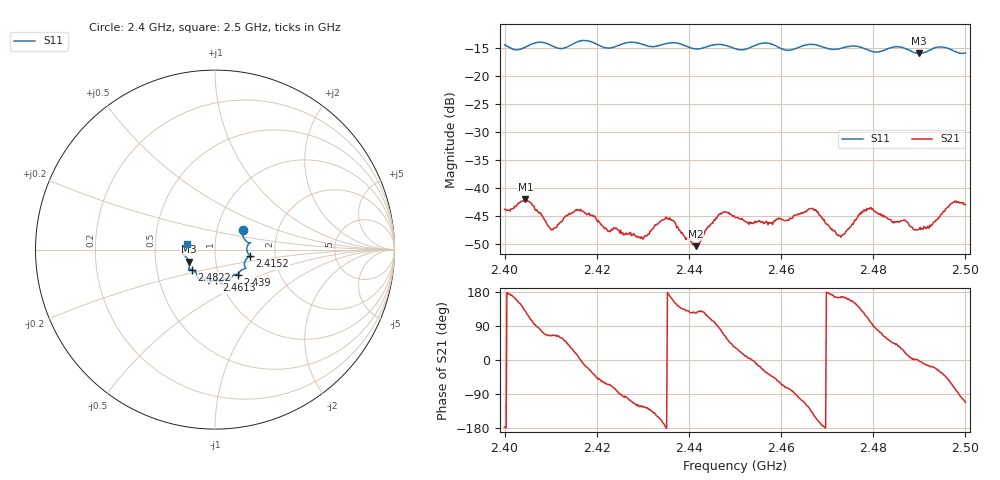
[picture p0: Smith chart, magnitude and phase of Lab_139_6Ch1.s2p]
# Hz S RI R 50
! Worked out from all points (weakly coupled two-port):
!   601 points, 2.4 GHz to 2.5 GHz, reference 50 ohm
!   highest |S21| = -42.00 dB at 2.4045 GHz (marker M1); lowest = -50.4 dB at 2.4415 GHz (marker M2)
!   lowest |S11| = -15.9 dB at 2.4898 GHz (marker M3), VSWR 1.38, Z = 37 - j5.05 ohm
!   |S11| at or under -10 dB: start of sweep to end of sweep
!   S12 and S22 are empty: the file has one direction only
!   S11 on the Smith chart (normalised r, x): 2.4 GHz: 1.33, +0.31; 2.4152 GHz: 1.48, -0.11; 2.439 GHz: 1.24, -0.36; 2.4613 GHz: 0.96, -0.34; 2.4822 GHz: 0.76, -0.17; 2.5 GHz: 0.73, +0.05
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2.4e9  0.1561 0.1115  -0.00647 -0.000337  0 0  0 0
2.4045e9  0.1772 0.0432  -0.00499 0.00619  0 0  0 0
2.410167e9  0.1862 0.0304  0.00178 0.00386  0 0  0 0
2.415167e9  0.1946 -0.0359  0.00578 0.00226  0 0  0 0
2.416667e9  0.2043 -0.0418  0.00633 -0.000299  0 0  0 0
2.4225e9  0.1667 -0.0654  0.0018 -0.00371  0 0  0 0
2.4295e9  0.1643 -0.1068  -0.00189 -0.00302  0 0  0 0
2.433333e9  0.1329 -0.1327  -0.00417 -0.0024  0 0  0 0
2.436333e9  0.135 -0.1477  -0.00491 0.00171  0 0  0 0
2.439e9  0.1282 -0.1394  -0.00258 0.00265  0 0  0 0
2.4415e9  0.1033 -0.1421  -0.00168 0.00253  0 0  0 0
2.446833e9  0.0854 -0.1731  0.00097 0.00588  0 0  0 0
2.45e9  0.0688 -0.1633  0.00458 0.00301  0 0  0 0
2.461333e9  0.00807 -0.1707  0.00144 -0.00493  0 0  0 0
2.466667e9  -0.0332 -0.1905  -0.00488 -0.00446  0 0  0 0
2.472667e9  -0.0735 -0.1608  -0.00366 0.000977  0 0  0 0
2.478333e9  -0.0983 -0.1455  -0.00288 0.00575  0 0  0 0
2.482167e9  -0.1281 -0.112  0.00248 0.00517  0 0  0 0
2.483333e9  -0.1394 -0.1102  0.00311 0.00427  0 0  0 0
2.489833e9  -0.1457 -0.0665  0.00425 -0.00012  0 0  0 0
2.497333e9  -0.1699 -0.00806  0.00256 -0.00701  0 0  0 0
2.5e9  -0.1584 0.0335  -0.00264 -0.00666  0 0  0 0
